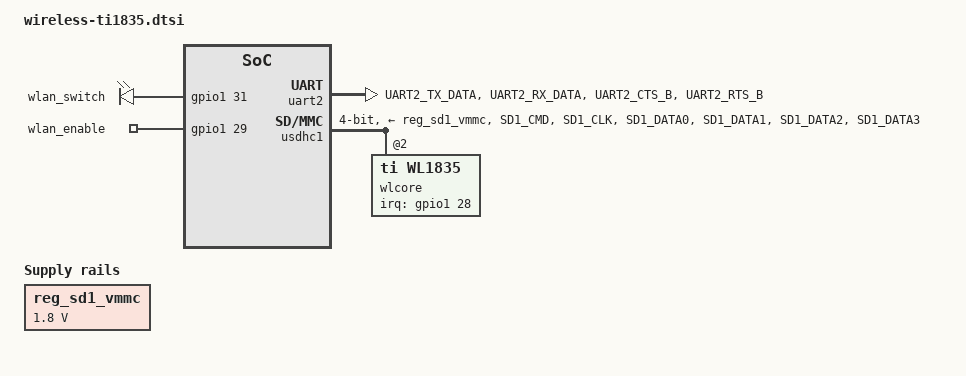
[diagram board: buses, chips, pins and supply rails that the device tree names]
/*
 * Copyright (C) 2020 CompeGPS Team S.L.
 * All rights reserved
 *
 */

/ {
	regulators-wifi {
		compatible = "simple-bus";
		#address-cells = <1>;
		#size-cells = <0>;
		reg_sd1_vmmc: regulator_sd1_vmmc {
			compatible = "regulator-fixed";
			regulator-name = "wlan-en-regulator";
			regulator-min-microvolt = <1800000>;
			regulator-max-microvolt = <1800000>;

			/* WLAN card specific delay */
			/* startup-delay-us = <70000>; */
			/* enable-active-high; */
		};
	};

	init-gpios-ti1835 {
		compatible = "gpio-leds";
		pinctrl-names = "default";
		pinctrl-0 = <&pinctrl_wlan_ctrl>;

		wlan_switch {
			label = "wlan_switch";
			gpios = <&gpio1 31 GPIO_ACTIVE_HIGH>;
			default-state = "on";
		};
		wlan_enable {
			label = "wlan_enable";
			gpios = <&gpio1 29 GPIO_ACTIVE_HIGH>;
			default-state = "off";
		};
		/*bt_enable { TODO
			label = "bt_enable";
			gpios = <&gpio1 30 GPIO_ACTIVE_HIGH>;
			default-state = "off";
		};*/
	};
};

/* Bluetooth UART */
&uart2 {
	pinctrl-names = "default";
	pinctrl-0 = <&pinctrl_uart2>;
	fsl,uart-has-rtscts;
	status = "okay";
};

 /*  Wi-Fi/BT SD Card Slot Definition */
 &usdhc1 {
    pinctrl-names = "default", "state_100mhz", "state_200mhz";
    pinctrl-0 = <&pinctrl_usdhc1>;
    pinctrl-1 = <&pinctrl_usdhc1_100mhz>;
    pinctrl-2 = <&pinctrl_usdhc1_200mhz>;
    vmmc-supply = <&reg_sd1_vmmc>;
    keep-power-in-suspend;
    enable-sdio-wakeup;
    bus-width = <4>;
    broken-cd;
    cap-power-off-card;
    status = "okay";
    #address-cells = <1>;
    #size-cells = <0>;

    wlcore: wlcore@0 {
        compatible = "ti,wl1835";
        reg = <2>;
        interrupt-parent = <&gpio1>;
        interrupts = <28 IRQ_TYPE_LEVEL_HIGH>;
    };
};

&iomuxc {
	imx6ul-evk {
		pinctrl_wlan_ctrl: wlanctrlgrp {
			fsl,pins = <
				MX6UL_PAD_UART4_RX_DATA__GPIO1_IO29		0x4001b0b0 /* WL_ENABLE */
				MX6UL_PAD_UART5_TX_DATA__GPIO1_IO30		0x1b0b0 /* BT_EN */
				MX6UL_PAD_UART5_RX_DATA__GPIO1_IO31		0x1b0b0 /* WL_SWITCH */
			>;
		};

		pinctrl_uart2: uart2grp { /* Bluetooth */
			fsl,pins = <
				MX6UL_PAD_UART2_TX_DATA__UART2_DCE_TX	0x1b0b1
				MX6UL_PAD_UART2_RX_DATA__UART2_DCE_RX	0x1b0b1
				MX6UL_PAD_UART2_CTS_B__UART2_DCE_CTS	0x1b0b1
				MX6UL_PAD_UART2_RTS_B__UART2_DCE_RTS	0x1b0b1
			>;
		};

		pinctrl_usdhc1: usdhc1grp {
			fsl,pins = <
				MX6UL_PAD_SD1_CMD__USDHC1_CMD     0x17059
				MX6UL_PAD_SD1_CLK__USDHC1_CLK     0x10059
				MX6UL_PAD_SD1_DATA0__USDHC1_DATA0 0x17059
				MX6UL_PAD_SD1_DATA1__USDHC1_DATA1 0x17059
				MX6UL_PAD_SD1_DATA2__USDHC1_DATA2 0x17059
				MX6UL_PAD_SD1_DATA3__USDHC1_DATA3 0x17059
			>;
		};

		pinctrl_usdhc1_100mhz: usdhc1grp100mhz {
			fsl,pins = <
				MX6UL_PAD_SD1_CMD__USDHC1_CMD		0x170b9
				MX6UL_PAD_SD1_CLK__USDHC1_CLK		0x100b9
				MX6UL_PAD_SD1_DATA0__USDHC1_DATA0	0x170b9
				MX6UL_PAD_SD1_DATA1__USDHC1_DATA1	0x170b9
				MX6UL_PAD_SD1_DATA2__USDHC1_DATA2	0x170b9
				MX6UL_PAD_SD1_DATA3__USDHC1_DATA3	0x170b9
			>;
		};

		pinctrl_usdhc1_200mhz: usdhc1grp200mhz {
			fsl,pins = <
				MX6UL_PAD_SD1_CMD__USDHC1_CMD		0x170f9
				MX6UL_PAD_SD1_CLK__USDHC1_CLK		0x100f9
				MX6UL_PAD_SD1_DATA0__USDHC1_DATA0	0x170f9
				MX6UL_PAD_SD1_DATA1__USDHC1_DATA1	0x170f9
				MX6UL_PAD_SD1_DATA2__USDHC1_DATA2	0x170f9
				MX6UL_PAD_SD1_DATA3__USDHC1_DATA3	0x170f9
			>;
		};
	};
};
